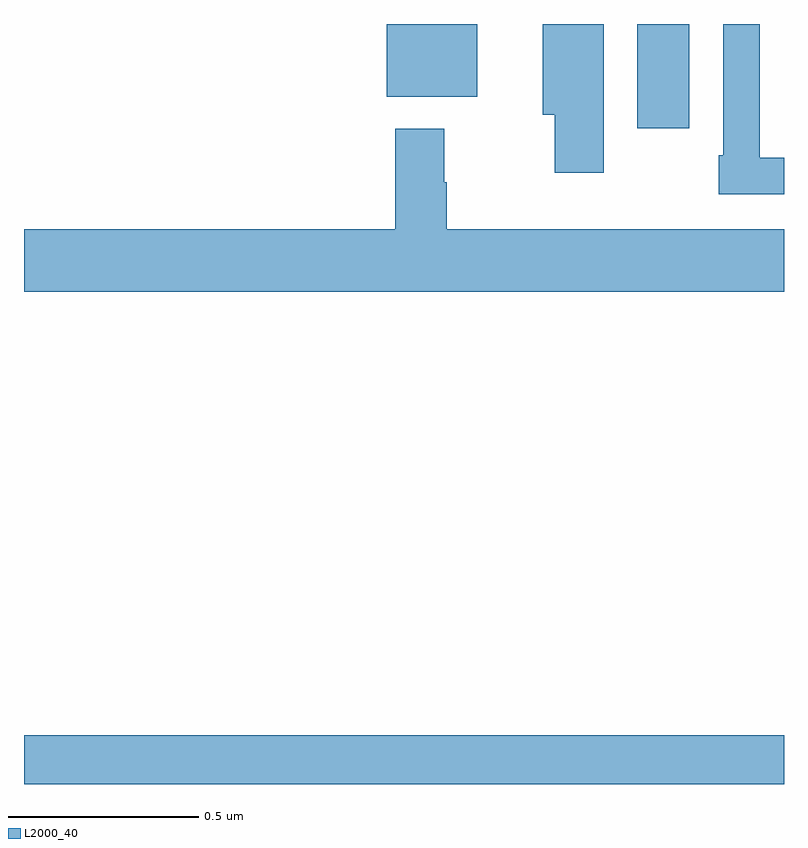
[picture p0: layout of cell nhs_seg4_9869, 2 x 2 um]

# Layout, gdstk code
import gdstk
lib = gdstk.Library(unit=1e-6, precision=1e-09)
def R(c, l, rs):  # rectangles x0, y0, x1, y1
    for r in rs: c.add(gdstk.rectangle(r[:2], r[2:], *l))
def P(c, l, *ps):  # polygons
    for p in ps: c.add(gdstk.Polygon(p, *l))
L2000_40 = (2000, 40)

nhs_seg4_9869 = lib.new_cell('nhs_seg4_9869')
R(nhs_seg4_9869, L2000_40, [(233,752.9,235,753.028), (234.614,754.626,234.751,754.9), (233.954,754.709,234.193,754.9)])
P(nhs_seg4_9869, L2000_40, [(235,754.548),(234.936,754.548),(234.936,754.9),(234.84,754.9),(234.84,754.555),(234.828,754.555),(234.828,754.452),(235,754.452)],
  [(234.526,754.9),(234.365,754.9),(234.365,754.661),(234.397,754.661),(234.397,754.509),(234.526,754.509)],
  [(235,754.36),(234.113,754.36),(234.113,754.484),(234.106,754.484),(234.106,754.624),(233.977,754.624),(233.977,754.36),(233,754.36),(233,754.196),(235,754.196)])

lib.write_gds('nhs_seg4_9869.gds')
